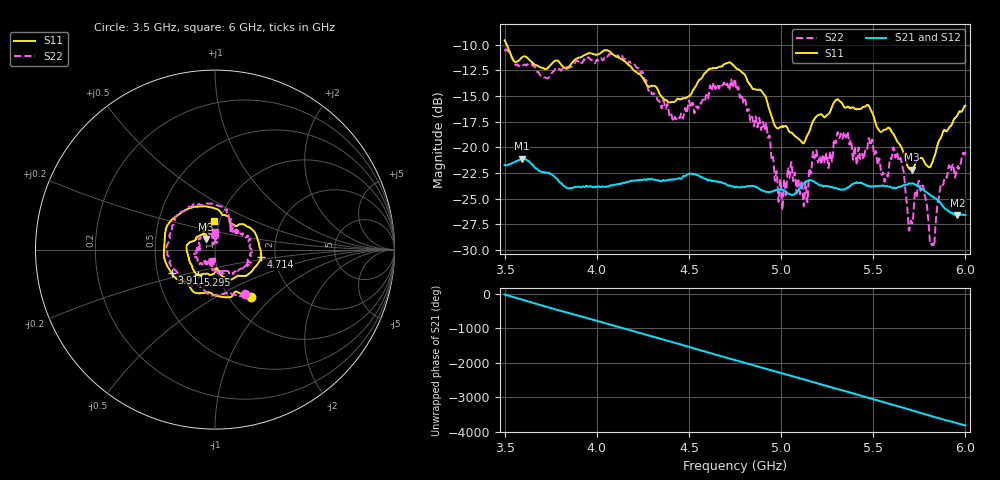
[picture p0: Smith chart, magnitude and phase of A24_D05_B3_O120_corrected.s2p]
! Created with skrf 1.9.0 (http://scikit-rf.org).
# Hz S RI R 50.0
!freq ReS11 ImS11 ReS21 ImS21 ReS12 ImS12 ReS22 ImS22
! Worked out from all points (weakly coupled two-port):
!   1601 points, 3.5 GHz to 6 GHz, reference 50 ohm
!   highest |S21| = -21.12 dB at 3.594 GHz (marker M1); lowest = -26.6 dB at 5.956 GHz (marker M2)
!   lowest |S11| = -22.2 dB at 5.709 GHz (marker M3), VSWR 1.17, Z = 44.9 + j5.39 ohm
!   |S11| at or under -10 dB: 3.512 GHz to end of sweep
!   |S22| runs from -29.6 to -10.5 dB; largest |S21 - S12| = 0.00092
!   S11 on the Smith chart (normalised r, x): 3.5 GHz: 1.26, -0.75; 3.911 GHz: 0.59, -0.17; 4.714 GHz: 1.68, -0.14; 5.295 GHz: 0.80, -0.23; 6 GHz: 0.94, +0.31
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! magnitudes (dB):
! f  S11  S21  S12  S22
! 3.5 GHz  -9.6  -21.7  -21.7  -10.5
! 3.594 GHz  -11.2  -21.1  -21.1  -12.0
! 3.911 GHz  -11.2  -23.9  -23.8  -11.6
! 3.917 GHz  -11.2  -23.9  -23.9  -11.8
! 4.128 GHz  -11.3  -23.6  -23.5  -11.2
! 4.334 GHz  -14.5  -23.2  -23.2  -15.4
! 4.714 GHz  -11.7  -23.7  -23.8  -14.3
! 4.75 GHz  -12.2  -23.9  -23.8  -13.4
! 4.928 GHz  -15.8  -24.3  -24.3  -19.0
! 4.997 GHz  -18.0  -24.1  -24.1  -23.2
! 5.047 GHz  -18.5  -24.6  -24.6  -22.9
! 5.133 GHz  -19.2  -23.4  -23.3  -23.4
! 5.167 GHz  -17.7  -23.3  -23.2  -21.6
! 5.295 GHz  -15.4  -24.0  -23.9  -19.6
! 5.584 GHz  -18.1  -23.8  -23.8  -22.0
! 5.641 GHz  -19.7  -23.9  -23.9  -21.3
! 5.709 GHz  -22.2  -23.5  -23.5  -27.4
! 5.759 GHz  -21.0  -24.0  -24.0  -24.1
! 5.82 GHz  -21.5  -24.8  -24.7  -29.5
! 5.872 GHz  -18.9  -25.6  -25.6  -23.6
! 5.956 GHz  -16.9  -26.6  -26.6  -22.0
! 6 GHz  -15.9  -26.6  -26.6  -20.4
